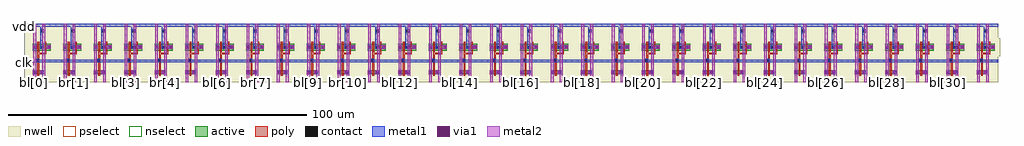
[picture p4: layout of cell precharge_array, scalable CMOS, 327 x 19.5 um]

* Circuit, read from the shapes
.subckt precharge_array bl[0] bl[10] bl[11] bl[12] bl[13] bl[14] bl[15] bl[16] bl[17] bl[18] bl[19] bl[1] bl[20] bl[21] bl[22] bl[23] bl[24] bl[25] bl[26] bl[27] bl[28] bl[29] bl[2] bl[30] bl[31] bl[3] bl[4] bl[5] bl[6] bl[7] bl[8] bl[9] br[0] br[10] br[11] br[12] br[13] br[14] br[15] br[16] br[17] br[18] br[19] br[1] br[20] br[21] br[22] br[23] br[24] br[25] br[26] br[27] br[28] br[29] br[2] br[30] br[31] br[3] br[4] br[5] br[6] br[7] br[8] br[9] clk vdd
M1 br[0] clk bl[0] vdd pfet w=1.2u l=0.6u
M2 vdd clk bl[0] vdd pfet w=2.4u l=0.6u
M3 br[0] clk vdd vdd pfet w=2.4u l=0.6u
M4 br[1] clk bl[1] vdd pfet w=1.2u l=0.6u
M5 vdd clk bl[1] vdd pfet w=2.4u l=0.6u
M6 br[1] clk vdd vdd pfet w=2.4u l=0.6u
M7 br[2] clk bl[2] vdd pfet w=1.2u l=0.6u
M8 vdd clk bl[2] vdd pfet w=2.4u l=0.6u
M9 br[2] clk vdd vdd pfet w=2.4u l=0.6u
M10 br[3] clk bl[3] vdd pfet w=1.2u l=0.6u
M11 vdd clk bl[3] vdd pfet w=2.4u l=0.6u
M12 br[3] clk vdd vdd pfet w=2.4u l=0.6u
M13 br[4] clk bl[4] vdd pfet w=1.2u l=0.6u
M14 vdd clk bl[4] vdd pfet w=2.4u l=0.6u
M15 br[4] clk vdd vdd pfet w=2.4u l=0.6u
M16 br[5] clk bl[5] vdd pfet w=1.2u l=0.6u
M17 vdd clk bl[5] vdd pfet w=2.4u l=0.6u
M18 br[5] clk vdd vdd pfet w=2.4u l=0.6u
M19 br[6] clk bl[6] vdd pfet w=1.2u l=0.6u
M20 vdd clk bl[6] vdd pfet w=2.4u l=0.6u
M21 br[6] clk vdd vdd pfet w=2.4u l=0.6u
M22 br[7] clk bl[7] vdd pfet w=1.2u l=0.6u
M23 vdd clk bl[7] vdd pfet w=2.4u l=0.6u
M24 br[7] clk vdd vdd pfet w=2.4u l=0.6u
M25 br[8] clk bl[8] vdd pfet w=1.2u l=0.6u
M26 vdd clk bl[8] vdd pfet w=2.4u l=0.6u
M27 br[8] clk vdd vdd pfet w=2.4u l=0.6u
M28 br[9] clk bl[9] vdd pfet w=1.2u l=0.6u
M29 vdd clk bl[9] vdd pfet w=2.4u l=0.6u
M30 br[9] clk vdd vdd pfet w=2.4u l=0.6u
M31 br[10] clk bl[10] vdd pfet w=1.2u l=0.6u
M32 vdd clk bl[10] vdd pfet w=2.4u l=0.6u
M33 br[10] clk vdd vdd pfet w=2.4u l=0.6u
M34 br[11] clk bl[11] vdd pfet w=1.2u l=0.6u
M35 vdd clk bl[11] vdd pfet w=2.4u l=0.6u
M36 br[11] clk vdd vdd pfet w=2.4u l=0.6u
M37 br[12] clk bl[12] vdd pfet w=1.2u l=0.6u
M38 vdd clk bl[12] vdd pfet w=2.4u l=0.6u
M39 br[12] clk vdd vdd pfet w=2.4u l=0.6u
M40 br[13] clk bl[13] vdd pfet w=1.2u l=0.6u
M41 vdd clk bl[13] vdd pfet w=2.4u l=0.6u
M42 br[13] clk vdd vdd pfet w=2.4u l=0.6u
M43 br[14] clk bl[14] vdd pfet w=1.2u l=0.6u
M44 vdd clk bl[14] vdd pfet w=2.4u l=0.6u
M45 br[14] clk vdd vdd pfet w=2.4u l=0.6u
M46 br[15] clk bl[15] vdd pfet w=1.2u l=0.6u
M47 vdd clk bl[15] vdd pfet w=2.4u l=0.6u
M48 br[15] clk vdd vdd pfet w=2.4u l=0.6u
M49 br[16] clk bl[16] vdd pfet w=1.2u l=0.6u
M50 vdd clk bl[16] vdd pfet w=2.4u l=0.6u
M51 br[16] clk vdd vdd pfet w=2.4u l=0.6u
M52 br[17] clk bl[17] vdd pfet w=1.2u l=0.6u
M53 vdd clk bl[17] vdd pfet w=2.4u l=0.6u
M54 br[17] clk vdd vdd pfet w=2.4u l=0.6u
M55 br[18] clk bl[18] vdd pfet w=1.2u l=0.6u
M56 vdd clk bl[18] vdd pfet w=2.4u l=0.6u
M57 br[18] clk vdd vdd pfet w=2.4u l=0.6u
M58 br[19] clk bl[19] vdd pfet w=1.2u l=0.6u
M59 vdd clk bl[19] vdd pfet w=2.4u l=0.6u
M60 br[19] clk vdd vdd pfet w=2.4u l=0.6u
M61 br[20] clk bl[20] vdd pfet w=1.2u l=0.6u
M62 vdd clk bl[20] vdd pfet w=2.4u l=0.6u
M63 br[20] clk vdd vdd pfet w=2.4u l=0.6u
M64 br[21] clk bl[21] vdd pfet w=1.2u l=0.6u
M65 vdd clk bl[21] vdd pfet w=2.4u l=0.6u
M66 br[21] clk vdd vdd pfet w=2.4u l=0.6u
M67 br[22] clk bl[22] vdd pfet w=1.2u l=0.6u
M68 vdd clk bl[22] vdd pfet w=2.4u l=0.6u
M69 br[22] clk vdd vdd pfet w=2.4u l=0.6u
M70 br[23] clk bl[23] vdd pfet w=1.2u l=0.6u
M71 vdd clk bl[23] vdd pfet w=2.4u l=0.6u
M72 br[23] clk vdd vdd pfet w=2.4u l=0.6u
M73 br[24] clk bl[24] vdd pfet w=1.2u l=0.6u
M74 vdd clk bl[24] vdd pfet w=2.4u l=0.6u
M75 br[24] clk vdd vdd pfet w=2.4u l=0.6u
M76 br[25] clk bl[25] vdd pfet w=1.2u l=0.6u
M77 vdd clk bl[25] vdd pfet w=2.4u l=0.6u
M78 br[25] clk vdd vdd pfet w=2.4u l=0.6u
M79 br[26] clk bl[26] vdd pfet w=1.2u l=0.6u
M80 vdd clk bl[26] vdd pfet w=2.4u l=0.6u
M81 br[26] clk vdd vdd pfet w=2.4u l=0.6u
M82 br[27] clk bl[27] vdd pfet w=1.2u l=0.6u
M83 vdd clk bl[27] vdd pfet w=2.4u l=0.6u
M84 br[27] clk vdd vdd pfet w=2.4u l=0.6u
M85 br[28] clk bl[28] vdd pfet w=1.2u l=0.6u
M86 vdd clk bl[28] vdd pfet w=2.4u l=0.6u
M87 br[28] clk vdd vdd pfet w=2.4u l=0.6u
M88 br[29] clk bl[29] vdd pfet w=1.2u l=0.6u
M89 vdd clk bl[29] vdd pfet w=2.4u l=0.6u
M90 br[29] clk vdd vdd pfet w=2.4u l=0.6u
M91 br[30] clk bl[30] vdd pfet w=1.2u l=0.6u
M92 vdd clk bl[30] vdd pfet w=2.4u l=0.6u
M93 br[30] clk vdd vdd pfet w=2.4u l=0.6u
M94 br[31] clk bl[31] vdd pfet w=1.2u l=0.6u
M95 vdd clk bl[31] vdd pfet w=2.4u l=0.6u
M96 br[31] clk vdd vdd pfet w=2.4u l=0.6u
.ends

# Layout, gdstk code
from math import pi, radians
import gdstk
lib = gdstk.Library(unit=1e-6, precision=1e-09)
def R(c, l, rs):  # rectangles x0, y0, x1, y1
    for r in rs: c.add(gdstk.rectangle(r[:2], r[2:], *l))
contact = (25, 0)
nwell = (42, 0)
active = (43, 0)
pselect = (44, 0)
nselect = (45, 0)
poly = (46, 0)
metal1 = (49, 0)
via1 = (50, 0)
metal2 = (51, 0)

active_contact_metal1_1x = lib.new_cell('active_contact_metal1_1x1')
R(active_contact_metal1_1x, contact, [(0.3,0.3,0.9,0.9)])
R(active_contact_metal1_1x, active, [(0,0,1.2,1.2)])
R(active_contact_metal1_1x, metal1, [(0,0,1.2,1.2)])

pmos_m1_w1_2 = lib.new_cell('pmos_m1_w1.2')
R(pmos_m1_w1_2, nwell, [(0,0,7.2,4.8)])
R(pmos_m1_w1_2, active, [(1.8,1.8,5.4,3)])
R(pmos_m1_w1_2, pselect, [(1.8,1.8,5.4,3)])
R(pmos_m1_w1_2, poly, [(3.3,1.2,3.9,3.6)])
pmos_m1_w1_2.add(gdstk.Reference(active_contact_metal1_1x, (1.8,1.8)))
pmos_m1_w1_2.add(gdstk.Reference(active_contact_metal1_1x, (4.2,1.8)))

pmos_m1_w2_4 = lib.new_cell('pmos_m1_w2.4')
R(pmos_m1_w2_4, nwell, [(0,0,7.2,6)])
R(pmos_m1_w2_4, active, [(1.8,1.8,5.4,4.2)])
R(pmos_m1_w2_4, pselect, [(1.8,1.8,5.4,4.2)])
R(pmos_m1_w2_4, poly, [(3.3,1.2,3.9,4.8)])
pmos_m1_w2_4.add(gdstk.Reference(active_contact_metal1_1x, (1.8,2.4)))
pmos_m1_w2_4.add(gdstk.Reference(active_contact_metal1_1x, (4.2,2.4)))

poly_contact_metal1_1x1 = lib.new_cell('poly_contact_metal1_1x1')
R(poly_contact_metal1_1x1, contact, [(0.3,0.3,0.9,0.9)])
R(poly_contact_metal1_1x1, poly, [(0,0,1.2,1.2)])
R(poly_contact_metal1_1x1, metal1, [(0,0,1.2,1.2)])

metal1_via1_metal2_1x1 = lib.new_cell('metal1_via1_metal2_1x1')
R(metal1_via1_metal2_1x1, metal1, [(0,0,1.2,1.2)])
R(metal1_via1_metal2_1x1, via1, [(0.3,0.3,0.9,0.9)])
R(metal1_via1_metal2_1x1, metal2, [(0,0,1.2,1.2)])

precharge_cell = lib.new_cell('precharge_cell')
R(precharge_cell, nwell, [(0,0,10.2,19.5)])
R(precharge_cell, nselect, [(5.4,16.5,6.6,17.7)])
R(precharge_cell, poly, [(4.5,4.5,5.1,9.9), (4.5,9.3,7.5,9.9)])
R(precharge_cell, metal1, [(0,6.6,10.2,7.5), (5.4,11.1,6.3,19.5), (0,18.6,10.2,19.5)])
R(precharge_cell, metal2, [(3.15,0,4.05,19.5), (6.15,0,7.05,19.5), (3.45,2.7,3.6,3.9), (5.4,2.7,6.15,3.9), (3.45,11.1,3.6,12.3), (6.15,11.1,7.8,12.3)])
precharge_cell.add(gdstk.Reference(pmos_m1_w1_2, (1.2,0.9)))
precharge_cell.add(gdstk.Reference(pmos_m1_w2_4, (1.2,8.7)))
precharge_cell.add(gdstk.Reference(pmos_m1_w2_4, (3.6,8.7)))
precharge_cell.add(gdstk.Reference(poly_contact_metal1_1x1, (5.1,6.6), rotation=pi/2))
precharge_cell.add(gdstk.Reference(active_contact_metal1_1x, (5.4,16.5)))
precharge_cell.add(gdstk.Reference(metal1_via1_metal2_1x1, (3,11.1)))
precharge_cell.add(gdstk.Reference(metal1_via1_metal2_1x1, (7.8,11.1)))
precharge_cell.add(gdstk.Reference(metal1_via1_metal2_1x1, (3,2.7)))
precharge_cell.add(gdstk.Reference(metal1_via1_metal2_1x1, (5.4,2.7)))
precharge_cell.add(gdstk.Label('clk', (0,6.6), layer=49, texttype=0))
precharge_cell.add(gdstk.Label('vdd', (0,18.6), layer=49, texttype=0))
precharge_cell.add(gdstk.Label('bl', (3.15,0), layer=51, texttype=0))
precharge_cell.add(gdstk.Label('br', (6.15,0), layer=51, texttype=0))

precharge_array = lib.new_cell('precharge_array')
R(precharge_array, metal1, [(0,6.6,326.4,7.5), (0,18.6,326.4,19.5)])
precharge_array.add(gdstk.Reference(precharge_cell, (0,0)))
precharge_array.add(gdstk.Reference(precharge_cell, (10.2,0)))
precharge_array.add(gdstk.Reference(precharge_cell, (20.4,0)))
precharge_array.add(gdstk.Reference(precharge_cell, (30.6,0)))
precharge_array.add(gdstk.Reference(precharge_cell, (40.8,0)))
precharge_array.add(gdstk.Reference(precharge_cell, (51,0)))
precharge_array.add(gdstk.Reference(precharge_cell, (61.2,0)))
precharge_array.add(gdstk.Reference(precharge_cell, (71.4,0)))
precharge_array.add(gdstk.Reference(precharge_cell, (81.6,0)))
precharge_array.add(gdstk.Reference(precharge_cell, (91.8,0)))
precharge_array.add(gdstk.Reference(precharge_cell, (102,0)))
precharge_array.add(gdstk.Reference(precharge_cell, (112.2,0)))
precharge_array.add(gdstk.Reference(precharge_cell, (122.4,0)))
precharge_array.add(gdstk.Reference(precharge_cell, (132.6,0)))
precharge_array.add(gdstk.Reference(precharge_cell, (142.8,0)))
precharge_array.add(gdstk.Reference(precharge_cell, (153,0)))
precharge_array.add(gdstk.Reference(precharge_cell, (163.2,0)))
precharge_array.add(gdstk.Reference(precharge_cell, (173.4,0)))
precharge_array.add(gdstk.Reference(precharge_cell, (183.6,0)))
precharge_array.add(gdstk.Reference(precharge_cell, (193.8,0)))
precharge_array.add(gdstk.Reference(precharge_cell, (204,0)))
precharge_array.add(gdstk.Reference(precharge_cell, (214.2,0)))
precharge_array.add(gdstk.Reference(precharge_cell, (224.4,0)))
precharge_array.add(gdstk.Reference(precharge_cell, (234.6,0)))
precharge_array.add(gdstk.Reference(precharge_cell, (244.8,0)))
precharge_array.add(gdstk.Reference(precharge_cell, (255,0)))
precharge_array.add(gdstk.Reference(precharge_cell, (265.2,0)))
precharge_array.add(gdstk.Reference(precharge_cell, (275.4,0)))
precharge_array.add(gdstk.Reference(precharge_cell, (285.6,0)))
precharge_array.add(gdstk.Reference(precharge_cell, (295.8,0)))
precharge_array.add(gdstk.Reference(precharge_cell, (306,0)))
precharge_array.add(gdstk.Reference(precharge_cell, (316.2,0)))
precharge_array.add(gdstk.Label('bl[0]', (3.6,0), layer=51, texttype=0))
precharge_array.add(gdstk.Label('br[0]', (6.6,0), layer=51, texttype=0))
precharge_array.add(gdstk.Label('bl[1]', (13.8,0), layer=51, texttype=0))
precharge_array.add(gdstk.Label('br[1]', (16.8,0), layer=51, texttype=0))
precharge_array.add(gdstk.Label('bl[2]', (24,0), layer=51, texttype=0))
precharge_array.add(gdstk.Label('br[2]', (27,0), layer=51, texttype=0))
precharge_array.add(gdstk.Label('bl[3]', (34.2,0), layer=51, texttype=0))
precharge_array.add(gdstk.Label('br[3]', (37.2,0), layer=51, texttype=0))
precharge_array.add(gdstk.Label('bl[4]', (44.4,0), layer=51, texttype=0))
precharge_array.add(gdstk.Label('br[4]', (47.4,0), layer=51, texttype=0))
precharge_array.add(gdstk.Label('bl[5]', (54.6,0), layer=51, texttype=0))
precharge_array.add(gdstk.Label('br[5]', (57.6,0), layer=51, texttype=0))
precharge_array.add(gdstk.Label('bl[6]', (64.8,0), layer=51, texttype=0))
precharge_array.add(gdstk.Label('br[6]', (67.8,0), layer=51, texttype=0))
precharge_array.add(gdstk.Label('bl[7]', (75,0), layer=51, texttype=0))
precharge_array.add(gdstk.Label('br[7]', (78,0), layer=51, texttype=0))
precharge_array.add(gdstk.Label('bl[8]', (85.2,0), layer=51, texttype=0))
precharge_array.add(gdstk.Label('br[8]', (88.2,0), layer=51, texttype=0))
precharge_array.add(gdstk.Label('bl[9]', (95.4,0), layer=51, texttype=0))
precharge_array.add(gdstk.Label('br[9]', (98.4,0), layer=51, texttype=0))
precharge_array.add(gdstk.Label('bl[10]', (105.6,0), layer=51, texttype=0))
precharge_array.add(gdstk.Label('br[10]', (108.6,0), layer=51, texttype=0))
precharge_array.add(gdstk.Label('bl[11]', (115.8,0), layer=51, texttype=0))
precharge_array.add(gdstk.Label('br[11]', (118.8,0), layer=51, texttype=0))
precharge_array.add(gdstk.Label('bl[12]', (126,0), layer=51, texttype=0))
precharge_array.add(gdstk.Label('br[12]', (129,0), layer=51, texttype=0))
precharge_array.add(gdstk.Label('bl[13]', (136.2,0), layer=51, texttype=0))
precharge_array.add(gdstk.Label('br[13]', (139.2,0), layer=51, texttype=0))
precharge_array.add(gdstk.Label('bl[14]', (146.4,0), layer=51, texttype=0))
precharge_array.add(gdstk.Label('br[14]', (149.4,0), layer=51, texttype=0))
precharge_array.add(gdstk.Label('bl[15]', (156.6,0), layer=51, texttype=0))
precharge_array.add(gdstk.Label('br[15]', (159.6,0), layer=51, texttype=0))
precharge_array.add(gdstk.Label('bl[16]', (166.8,0), layer=51, texttype=0))
precharge_array.add(gdstk.Label('br[16]', (169.8,0), layer=51, texttype=0))
precharge_array.add(gdstk.Label('bl[17]', (177,0), layer=51, texttype=0))
precharge_array.add(gdstk.Label('br[17]', (180,0), layer=51, texttype=0))
precharge_array.add(gdstk.Label('bl[18]', (187.2,0), layer=51, texttype=0))
precharge_array.add(gdstk.Label('br[18]', (190.2,0), layer=51, texttype=0))
precharge_array.add(gdstk.Label('bl[19]', (197.4,0), layer=51, texttype=0))
precharge_array.add(gdstk.Label('br[19]', (200.4,0), layer=51, texttype=0))
precharge_array.add(gdstk.Label('bl[20]', (207.6,0), layer=51, texttype=0))
precharge_array.add(gdstk.Label('br[20]', (210.6,0), layer=51, texttype=0))
precharge_array.add(gdstk.Label('bl[21]', (217.8,0), layer=51, texttype=0))
precharge_array.add(gdstk.Label('br[21]', (220.8,0), layer=51, texttype=0))
precharge_array.add(gdstk.Label('bl[22]', (228,0), layer=51, texttype=0))
precharge_array.add(gdstk.Label('br[22]', (231,0), layer=51, texttype=0))
precharge_array.add(gdstk.Label('bl[23]', (238.2,0), layer=51, texttype=0))
precharge_array.add(gdstk.Label('br[23]', (241.2,0), layer=51, texttype=0))
precharge_array.add(gdstk.Label('bl[24]', (248.4,0), layer=51, texttype=0))
precharge_array.add(gdstk.Label('br[24]', (251.4,0), layer=51, texttype=0))
precharge_array.add(gdstk.Label('bl[25]', (258.6,0), layer=51, texttype=0))
precharge_array.add(gdstk.Label('br[25]', (261.6,0), layer=51, texttype=0))
precharge_array.add(gdstk.Label('bl[26]', (268.8,0), layer=51, texttype=0))
precharge_array.add(gdstk.Label('br[26]', (271.8,0), layer=51, texttype=0))
precharge_array.add(gdstk.Label('bl[27]', (279,0), layer=51, texttype=0))
precharge_array.add(gdstk.Label('br[27]', (282,0), layer=51, texttype=0))
precharge_array.add(gdstk.Label('bl[28]', (289.2,0), layer=51, texttype=0))
precharge_array.add(gdstk.Label('br[28]', (292.2,0), layer=51, texttype=0))
precharge_array.add(gdstk.Label('bl[29]', (299.4,0), layer=51, texttype=0))
precharge_array.add(gdstk.Label('br[29]', (302.4,0), layer=51, texttype=0))
precharge_array.add(gdstk.Label('bl[30]', (309.6,0), layer=51, texttype=0))
precharge_array.add(gdstk.Label('br[30]', (312.6,0), layer=51, texttype=0))
precharge_array.add(gdstk.Label('bl[31]', (319.8,0), layer=51, texttype=0))
precharge_array.add(gdstk.Label('br[31]', (322.8,0), layer=51, texttype=0))
precharge_array.add(gdstk.Label('vdd', (0,18.6), layer=49, texttype=0))
precharge_array.add(gdstk.Label('clk', (0,6.6), layer=49, texttype=0))

lib.write_gds('precharge_array.gds')
